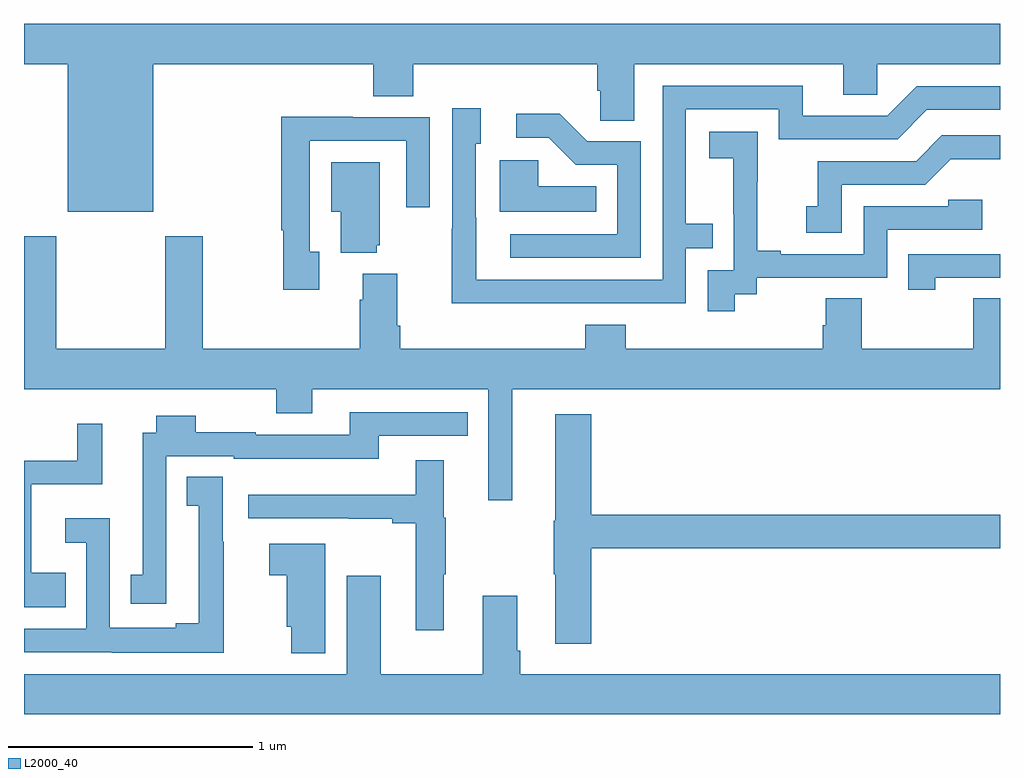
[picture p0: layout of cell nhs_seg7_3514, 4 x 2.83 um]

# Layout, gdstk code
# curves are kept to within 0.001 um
import gdstk
lib = gdstk.Library(unit=1e-6, precision=1e-09)
def P(c, l, *ps):  # polygons
    for p in ps: c.add(gdstk.Polygon(p, *l))
L2000_40 = (2000, 40)

nhs_seg7_3514 = lib.new_cell('nhs_seg7_3514')
P(nhs_seg7_3514, L2000_40, [(335.53,1011.272),(336.431,1011.272),(336.431,1011.139),(336.596,1011.139),(336.596,1011.272),(337.349,1011.272),(337.349,1011.163),(337.362,1011.163),(337.362,1011.04),(337.501,1011.04),(337.501,1011.272),(338.357,1011.272),(338.357,1011.145),(338.496,1011.145),(338.496,1011.272),(339,1011.272),(339,1011.436),(335,1011.436),(335,1011.272),(335.18,1011.272),(335.18,1010.666),(335.53,1010.666)],
  [(337.217,1010.292),(337.713,1010.292),(337.713,1010.517),(337.823,1010.517),(337.823,1010.618),(337.713,1010.618),(337.713,1011.087),(338.094,1011.087),(338.094,1010.964),(338.58,1010.964),(338.7,1011.084),(339,1011.084),(339,1011.18),(338.658,1011.18),(338.538,1011.06),(338.191,1011.06),(338.191,1011.183),(337.617,1011.183),(337.617,1010.388),(336.853,1010.388),(336.852,1010.946),(336.871,1010.946),(336.871,1011.091),(336.756,1011.091),(336.756,1010.597),(336.754,1010.597),(336.754,1010.291)],
  [(337.527,1010.955),(337.308,1010.955),(337.195,1011.068),(337.017,1011.068),(337.017,1010.97),(337.151,1010.97),(337.262,1010.859),(337.431,1010.859),(337.431,1010.574),(336.993,1010.574),(336.993,1010.478),(337.527,1010.478)],
  [(336.211,1010.502),(336.171,1010.502),(336.171,1010.958),(336.567,1010.958),(336.567,1010.685),(336.663,1010.685),(336.663,1011.054),(336.347,1011.054),(336.347,1011.056),(336.055,1011.056),(336.055,1010.59),(336.063,1010.59),(336.063,1010.346),(336.211,1010.346)],
  [(337.912,1010.329),(338.004,1010.329),(338.004,1010.397),(338.538,1010.397),(338.538,1010.592),(338.927,1010.592),(338.927,1010.715),(338.787,1010.715),(338.787,1010.688),(338.442,1010.688),(338.442,1010.493),(338.101,1010.493),(338.101,1010.506),(338.006,1010.506),(338.006,1010.789),(338.007,1010.789),(338.007,1010.995),(337.809,1010.995),(337.809,1010.885),(337.907,1010.885),(337.907,1010.657),(337.908,1010.657),(337.908,1010.427),(337.803,1010.427),(337.803,1010.259),(337.912,1010.259)],
  [(338.352,1010.778),(338.694,1010.778),(338.798,1010.882),(339,1010.882),(339,1010.979),(338.762,1010.979),(338.657,1010.874),(338.254,1010.874),(338.254,1010.689),(338.205,1010.689),(338.205,1010.58),(338.352,1010.58)],
  [(337.346,1010.77),(337.107,1010.77),(337.107,1010.878),(336.95,1010.878),(336.95,1010.666),(337.346,1010.666)],
  [(336.446,1010.529),(336.457,1010.529),(336.457,1010.869),(336.26,1010.869),(336.26,1010.666),(336.299,1010.666),(336.299,1010.498),(336.446,1010.498)],
  [(335,1010.566),(335,1009.94),(336.034,1009.94),(336.034,1009.841),(336.181,1009.841),(336.181,1009.94),(336.903,1009.94),(336.903,1009.485),(337,1009.485),(337,1009.94),(339,1009.94),(339,1010.312),(338.89,1010.312),(338.89,1010.104),(338.433,1010.104),(338.433,1010.312),(338.285,1010.312),(338.285,1010.202),(338.273,1010.202),(338.273,1010.104),(337.466,1010.104),(337.466,1010.203),(337.301,1010.203),(337.301,1010.104),(336.542,1010.104),(336.542,1010.2),(336.529,1010.2),(336.529,1010.413),(336.389,1010.413),(336.389,1010.306),(336.377,1010.306),(336.377,1010.104),(335.733,1010.104),(335.733,1010.566),(335.578,1010.566),(335.578,1010.104),(335.133,1010.104),(335.133,1010.566)],
  [(338.734,1010.397),(339,1010.397),(339,1010.493),(338.623,1010.493),(338.623,1010.346),(338.734,1010.346)],
  [(335.584,1009.382),(335.583,1009.382),(335.583,1009.665),(335.859,1009.665),(335.859,1009.655),(336.454,1009.655),(336.454,1009.749),(336.818,1009.749),(336.818,1009.845),(336.335,1009.845),(336.335,1009.752),(335.949,1009.752),(335.949,1009.762),(335.703,1009.762),(335.703,1009.831),(335.543,1009.831),(335.543,1009.761),(335.486,1009.761),(335.486,1009.179),(335.437,1009.179),(335.437,1009.059),(335.584,1009.059)],
  [(337.325,1009.288),(339,1009.288),(339,1009.424),(337.325,1009.424),(337.325,1009.837),(337.178,1009.837),(337.178,1009.401),(337.171,1009.401),(337.171,1009.18),(337.178,1009.18),(337.178,1008.897),(337.325,1008.897)],
  [(335.171,1009.186),(335.029,1009.186),(335.029,1009.55),(335.32,1009.55),(335.32,1009.798),(335.218,1009.798),(335.218,1009.647),(335,1009.647),(335,1009.046),(335.171,1009.046)],
  [(336.721,1009.18),(336.729,1009.18),(336.729,1009.413),(336.721,1009.413),(336.721,1009.648),(336.605,1009.648),(336.605,1009.507),(335.919,1009.507),(335.919,1009.41),(336.331,1009.41),(336.331,1009.408),(336.509,1009.408),(336.509,1009.39),(336.605,1009.39),(336.605,1008.951),(336.721,1008.951)],
  [(335.819,1009.313),(335.814,1009.313),(335.814,1009.58),(335.668,1009.58),(335.668,1009.462),(335.717,1009.462),(335.717,1008.979),(335.621,1008.979),(335.621,1008.961),(335.352,1008.961),(335.352,1009.411),(335.169,1009.411),(335.169,1009.31),(335.256,1009.31),(335.256,1008.957),(335,1008.957),(335,1008.861),(335.359,1008.861),(335.359,1008.86),(335.819,1008.86)],
  [(336.235,1009.306),(336.006,1009.306),(336.006,1009.177),(336.077,1009.177),(336.077,1008.966),(336.095,1008.966),(336.095,1008.857),(336.235,1008.857)],
  [(339,1008.772),(337.034,1008.772),(337.034,1008.868),(337.021,1008.868),(337.021,1009.093),(336.881,1009.093),(336.881,1008.772),(336.463,1008.772),(336.463,1009.174),(336.323,1009.174),(336.323,1008.772),(335,1008.772),(335,1008.608),(339,1008.608)])

lib.write_gds('nhs_seg7_3514.gds')
